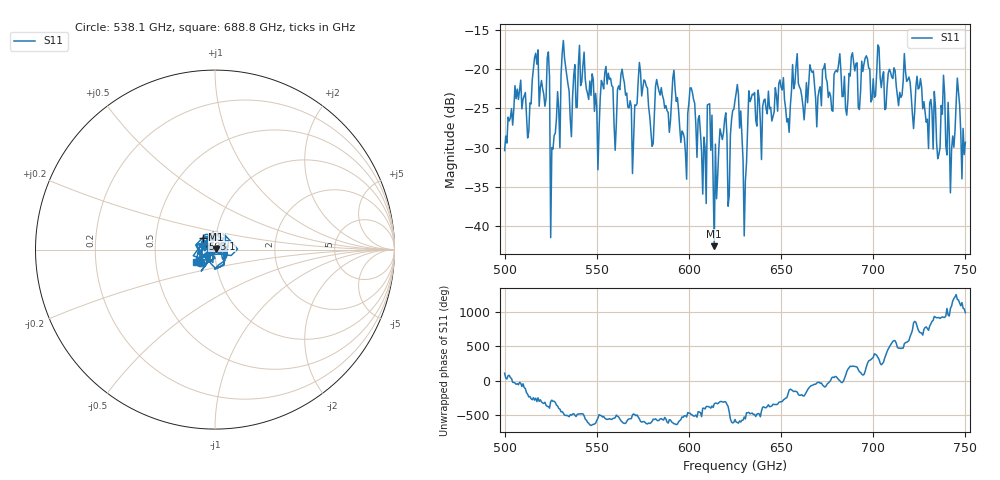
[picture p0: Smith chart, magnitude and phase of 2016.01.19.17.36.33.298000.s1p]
!Created with skrf (http://scikit-rf.org).
# GHz S RI R 50.0
!freq ReS11 ImS11
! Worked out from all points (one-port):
!   401 points, 500 GHz to 750 GHz, reference 50 ohm
!   lowest |S11| = -42.6 dB at 613.8 GHz (marker M1), VSWR 1.01, Z = 50.7 + j0.302 ohm
!   |S11| at or under -10 dB: start of sweep to end of sweep
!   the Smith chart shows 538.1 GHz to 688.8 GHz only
!   S11 on the Smith chart (normalised r, x): 538.1 GHz: 0.84, -0.12; 563.1 GHz: 0.87, +0.11; 688.8 GHz: 0.80, -0.11
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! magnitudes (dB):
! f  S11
! 500 GHz  -30.4
! 506.9 GHz  -22.5
! 513.1 GHz  -28.0
! 516.9 GHz  -18.0
! 523.1 GHz  -18.6
! 526.2 GHz  -30.2
! 531.2 GHz  -17.9
! 538.1 GHz  -19.4
! 562.5 GHz  -22.6
! 563.1 GHz  -20.7
! 568.8 GHz  -24.8
! 573.8 GHz  -20.4
! 580 GHz  -29.8
! 593.8 GHz  -23.6
! 597.5 GHz  -28.7
! 601.9 GHz  -23.0
! 608.1 GHz  -28.7
! 611.2 GHz  -24.4
! 613.8 GHz  -42.6
! 621.9 GHz  -36.1
! 625 GHz  -24.0
! 630 GHz  -41.3
! 633.8 GHz  -23.8
! 656.2 GHz  -19.4
! 687.5 GHz  -20.9
! 688.8 GHz  -17.9
! 718.8 GHz  -21.4
! 750 GHz  -29.3
